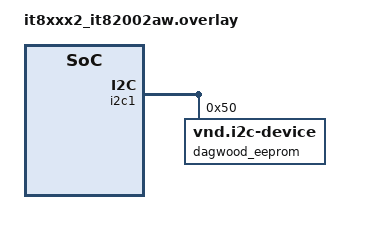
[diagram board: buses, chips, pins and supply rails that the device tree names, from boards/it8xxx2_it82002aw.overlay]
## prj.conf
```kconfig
# Copyright 2026 The ChromiumOS Authors
# Use of this source code is governed by a BSD-style license that can be
# found in the LICENSE file.

CONFIG_ZTEST=y

CONFIG_I2C=y
CONFIG_I2C_TRANSFER_TIMEOUT_MS=400
```

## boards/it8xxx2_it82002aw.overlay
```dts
/* Copyright 2026 The ChromiumOS Authors
 * Use of this source code is governed by a BSD-style license that can be
 * found in the LICENSE file.
 */

#include "../../../../program/ec-aic/ite-aic/project.overlay"

&i2c1 {
	scl-sda-low-timeout = <0>;
	zephyr,transfer-timeout-ms = <400>;
	dagwood_eeprom: dagwood-eeprom@50 {
		compatible = "vnd.i2c-device";
		reg = <0x50>;
	};
};
```

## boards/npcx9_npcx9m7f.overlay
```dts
/* Copyright 2026 The ChromiumOS Authors
 * Use of this source code is governed by a BSD-style license that can be
 * found in the LICENSE file.
 */

#include "../../../../program/ec-aic/npcx-aic/project.overlay"

&i2c0_0 {
	dagwood_eeprom: dagwood-eeprom@50 {
		compatible = "vnd.i2c-device";
		reg = <0x50>;
	};
};
```

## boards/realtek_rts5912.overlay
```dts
/* Copyright 2026 The ChromiumOS Authors
 * Use of this source code is governed by a BSD-style license that can be
 * found in the LICENSE file.
 */

#include "../../../../program/ec-aic/rtk-aic/project.overlay"

&i2c_3 {
	scl-timeout-value = <400>;
	sda-timeout-value = <400>;

	dagwood_eeprom: dagwood-eeprom@50 {
		compatible = "vnd.i2c-device";
                reg = <0x50>;
	};
};
```

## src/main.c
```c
/*
 * Copyright 2026 The ChromiumOS Authors
 * Use of this source code is governed by a BSD-style license that can be
 * found in the LICENSE file.
 */

#include <zephyr/device.h>
#include <zephyr/drivers/i2c.h>
#include <zephyr/kernel.h>
#include <zephyr/logging/log.h>
#include <zephyr/ztest.h>

#define DAGWOOD_I2C_DEV DT_NODELABEL(dagwood_eeprom)

LOG_MODULE_REGISTER(aic_i2c);

DEVICE_DT_DEFINE(DAGWOOD_I2C_DEV, NULL, NULL, NULL, NULL, POST_KERNEL, 90, 0);

struct aic_i2c_fixture {
	struct i2c_dt_spec dagwood_eeprom;
};

static void *aic_i2c_setup(void)
{
	static struct aic_i2c_fixture fixture = {
		.dagwood_eeprom = I2C_DT_SPEC_GET(DAGWOOD_I2C_DEV),
	};

	return &fixture;
}

ZTEST_SUITE(aic_i2c, NULL, aic_i2c_setup, NULL, NULL, NULL);

/* Must match platform/dagwood/firmware/include/dagwood/i2c_target.h */
#define I2C_GOOD_OFFSET 24
#define I2C_STRETCH_50MS_OFFSET 0x30
#define I2C_STRETCH_100MS_OFFSET 0x40
#define I2C_STRETCH_500MS_OFFSET 0x50

ZTEST_F(aic_i2c, test_i2c_read_write)
{
	uint8_t read_byte;
	uint8_t write_byte;
	const struct i2c_dt_spec *i2c_spec = &fixture->dagwood_eeprom;
	uint32_t start_time;
	uint32_t elapsed_ms;

	LOG_INF("Dagwood eeprom %s:0x%02x", fixture->dagwood_eeprom.bus->name,
		fixture->dagwood_eeprom.addr);

	start_time = k_uptime_get_32();
	zassert_ok(i2c_reg_read_byte_dt(i2c_spec, I2C_GOOD_OFFSET, &read_byte));
	elapsed_ms = k_uptime_get_32() - start_time;
	LOG_INF("Initial read took %u ms", elapsed_ms);

	write_byte = ~read_byte;
	start_time = k_uptime_get_32();
	zassert_ok(
		i2c_reg_write_byte_dt(i2c_spec, I2C_GOOD_OFFSET, write_byte));
	elapsed_ms = k_uptime_get_32() - start_time;
	LOG_INF("Write took %u ms", elapsed_ms);

	start_time = k_uptime_get_32();
	zassert_ok(i2c_reg_read_byte_dt(i2c_spec, I2C_GOOD_OFFSET, &read_byte));
	elapsed_ms = k_uptime_get_32() - start_time;
	LOG_INF("Read back took %u ms", elapsed_ms);

	zassert_equal(read_byte, write_byte);

	LOG_INF("I2C Read modify write successful");
}

ZTEST_F(aic_i2c, test_i2c_clock_stretch_50ms)
{
	uint8_t read_byte;
	uint8_t write_byte = 0x5a;
	const struct i2c_dt_spec *i2c_spec = &fixture->dagwood_eeprom;
	uint32_t start_time;
	uint32_t elapsed_ms;

	LOG_INF("Testing 50ms clock stretch at offset 0x%02x",
		I2C_STRETCH_50MS_OFFSET);

	start_time = k_uptime_get_32();
	zassert_ok(i2c_reg_write_byte_dt(i2c_spec, I2C_STRETCH_50MS_OFFSET,
					 write_byte));
	elapsed_ms = k_uptime_get_32() - start_time;
	LOG_INF("Write to offset 0x%02x took %u ms", I2C_STRETCH_50MS_OFFSET,
		elapsed_ms);

	start_time = k_uptime_get_32();
	zassert_ok(i2c_reg_read_byte_dt(i2c_spec, I2C_STRETCH_50MS_OFFSET,
					&read_byte));
	elapsed_ms = k_uptime_get_32() - start_time;
	LOG_INF("50ms clock stretch read took %u ms", elapsed_ms);

	/* Allow a 10% under delay to account for clock difference between
	 * dagwood and the EC. Allow for 10% + 10ms over delay to account
	 * for any latency in the EC completing the I2C transaction.
	 */
	zassert_between_inclusive(
		elapsed_ms, 45, 60,
		"Read with 50ms stretch completed out of bounds: "
		"%u ms not between 45ms and 60ms",
		elapsed_ms);
	zassert_equal(read_byte, write_byte,
		      "Mismatch reading 50ms stretch offset");
}

ZTEST_F(aic_i2c, test_i2c_clock_stretch_100ms)
{
	uint8_t read_byte;
	uint8_t write_byte = 0xa5;
	const struct i2c_dt_spec *i2c_spec = &fixture->dagwood_eeprom;
	uint32_t start_time;
	uint32_t elapsed_ms;

	LOG_INF("Testing 100ms clock stretch at offset 0x%02x",
		I2C_STRETCH_100MS_OFFSET);

	start_time = k_uptime_get_32();
	zassert_ok(i2c_reg_write_byte_dt(i2c_spec, I2C_STRETCH_100MS_OFFSET,
					 write_byte));
	elapsed_ms = k_uptime_get_32() - start_time;
	LOG_INF("Write to offset 0x%02x took %u ms", I2C_STRETCH_100MS_OFFSET,
		elapsed_ms);

	start_time = k_uptime_get_32();
	zassert_ok(i2c_reg_read_byte_dt(i2c_spec, I2C_STRETCH_100MS_OFFSET,
					&read_byte));
	elapsed_ms = k_uptime_get_32() - start_time;
	LOG_INF("100ms clock stretch read took %u ms", elapsed_ms);

	/* Allow a 10% under delay to account for clock difference between
	 * dagwood and the EC. Allow for 10% + 10ms over delay to account
	 * for any latency in the EC completing the I2C transaction.
	 */
	zassert_between_inclusive(
		elapsed_ms, 90, 120,
		"Read with 100ms stretch completed out of bounds: "
		"%u ms not between 94ms and 115ms",
		elapsed_ms);
	zassert_equal(read_byte, write_byte,
		      "Mismatch reading 100ms stretch offset");
}

ZTEST_F(aic_i2c, test_i2c_clock_stretch_500ms_timeout)
{
	uint8_t read_byte;
	uint8_t write_byte = 0x3c;
	const struct i2c_dt_spec *i2c_spec = &fixture->dagwood_eeprom;
	uint32_t start_time;
	uint32_t elapsed_ms;
	int ret;

	LOG_INF("Testing 500ms clock stretch timeout at offset 0x%02x",
		I2C_STRETCH_500MS_OFFSET);

	/* Write to memory succeeds normally without clock stretching */
	start_time = k_uptime_get_32();
	zassert_ok(i2c_reg_write_byte_dt(i2c_spec, I2C_STRETCH_500MS_OFFSET,
					 write_byte));
	elapsed_ms = k_uptime_get_32() - start_time;
	LOG_INF("Write to offset 0x%02x took %u ms", I2C_STRETCH_500MS_OFFSET,
		elapsed_ms);

	/* Reading from offset 0x50 causes a 500ms clock stretch, exceeding
	 * transfer timeout */
	start_time = k_uptime_get_32();
	ret = i2c_reg_read_byte_dt(i2c_spec, I2C_STRETCH_500MS_OFFSET,
				   &read_byte);
	elapsed_ms = k_uptime_get_32() - start_time;
	LOG_INF("500ms clock stretch read returned %d (expected error), took %u ms",
		ret, elapsed_ms);
	zassert_not_equal(
		ret, 0,
		"Expected read to fail due to timeout on 500ms stretch, got %d",
		ret);

	/* For this test, the EC I2C controller should configure a timeout of
	 * at least 400ms.
	 */
	zassert_true(
		elapsed_ms >= 350,
		"Timeout transaction completed too quickly: %u ms < 350 ms",
		elapsed_ms);

	/* Make sure the target device clock stretch has expired. */
	k_msleep(500);

	/* Verify controller recovers after timeout and can perform normal
	 * transfers */
	start_time = k_uptime_get_32();
	zassert_ok(i2c_reg_read_byte_dt(i2c_spec, I2C_GOOD_OFFSET, &read_byte),
		   "Controller failed to recover after clock stretch timeout");
	elapsed_ms = k_uptime_get_32() - start_time;
	LOG_INF("Recovery read took %u ms", elapsed_ms);
}
```
